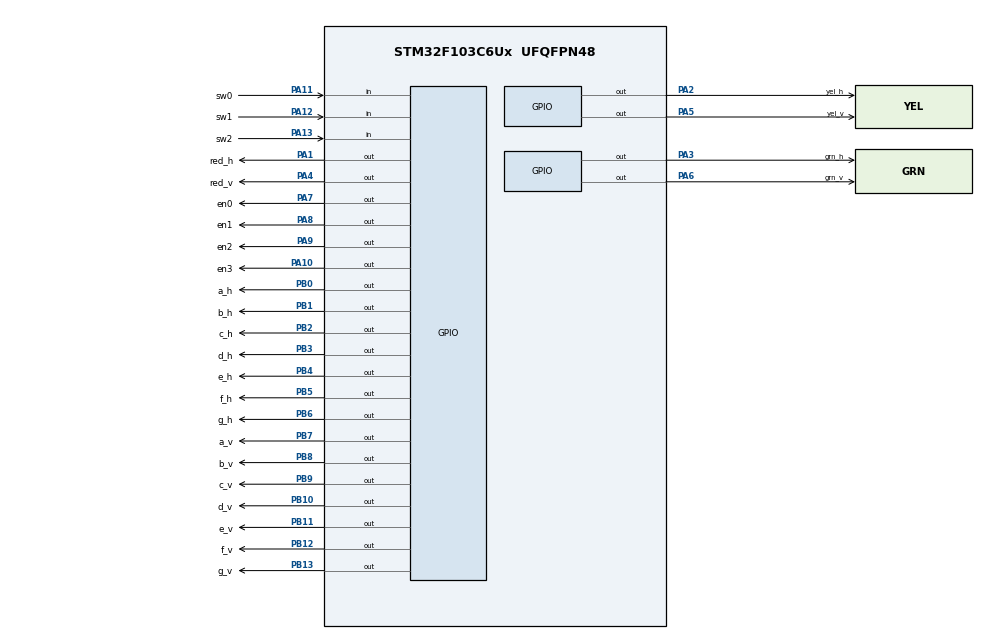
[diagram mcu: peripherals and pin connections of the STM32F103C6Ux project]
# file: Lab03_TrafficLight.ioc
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Mcu.Family=STM32F1
Mcu.Name=STM32F103C6Ux
Mcu.Package=UFQFPN48
NVIC.PriorityGroup=NVIC_PRIORITYGROUP_4
NVIC.TIM2_IRQn=true\:0\:0\:false\:false\:true\:true\:true\:true
PA1.GPIO_Label=red_h
PA1.PinState=GPIO_PIN_SET
PA1.Signal=GPIO_Output
PA10.GPIO_Label=en3
PA10.PinState=GPIO_PIN_SET
PA10.Signal=GPIO_Output
PA11.GPIO_Label=sw0
PA11.GPIO_PuPd=GPIO_PULLUP
PA11.Signal=GPIO_Input
PA12.GPIO_Label=sw1
PA12.GPIO_PuPd=GPIO_PULLUP
PA12.Signal=GPIO_Input
PA13.GPIO_Label=sw2
PA13.GPIO_PuPd=GPIO_PULLUP
PA13.Signal=GPIO_Input
PA2.GPIO_Label=yel_h
PA2.PinState=GPIO_PIN_SET
PA2.Signal=GPIO_Output
PA3.GPIO_Label=grn_h
PA3.PinState=GPIO_PIN_SET
PA3.Signal=GPIO_Output
PA4.GPIO_Label=red_v
PA4.PinState=GPIO_PIN_SET
PA4.Signal=GPIO_Output
PA5.GPIO_Label=yel_v
PA5.PinState=GPIO_PIN_SET
PA5.Signal=GPIO_Output
PA6.GPIO_Label=grn_v
PA6.PinState=GPIO_PIN_SET
PA6.Signal=GPIO_Output
PA7.GPIO_Label=en0
PA7.PinState=GPIO_PIN_SET
PA7.Signal=GPIO_Output
PA8.GPIO_Label=en1
PA8.PinState=GPIO_PIN_SET
PA8.Signal=GPIO_Output
PA9.GPIO_Label=en2
PA9.PinState=GPIO_PIN_SET
PA9.Signal=GPIO_Output
PB0.GPIO_Label=a_h
PB0.PinState=GPIO_PIN_SET
PB0.Signal=GPIO_Output
PB1.GPIO_Label=b_h
PB1.PinState=GPIO_PIN_SET
PB1.Signal=GPIO_Output
PB10.GPIO_Label=d_v
PB10.PinState=GPIO_PIN_SET
PB10.Signal=GPIO_Output
PB11.GPIO_Label=e_v
PB11.PinState=GPIO_PIN_SET
PB11.Signal=GPIO_Output
PB12.GPIO_Label=f_v
PB12.PinState=GPIO_PIN_SET
PB12.Signal=GPIO_Output
PB13.GPIO_Label=g_v
PB13.PinState=GPIO_PIN_SET
PB13.Signal=GPIO_Output
PB2.GPIO_Label=c_h
PB2.PinState=GPIO_PIN_SET
PB2.Signal=GPIO_Output
PB3.GPIO_Label=d_h
PB3.PinState=GPIO_PIN_SET
PB3.Signal=GPIO_Output
PB4.GPIO_Label=e_h
PB4.PinState=GPIO_PIN_SET
PB4.Signal=GPIO_Output
PB5.GPIO_Label=f_h
PB5.PinState=GPIO_PIN_SET
PB5.Signal=GPIO_Output
PB6.GPIO_Label=g_h
PB6.PinState=GPIO_PIN_SET
PB6.Signal=GPIO_Output
PB7.GPIO_Label=a_v
PB7.PinState=GPIO_PIN_SET
PB7.Signal=GPIO_Output
PB8.GPIO_Label=b_v
PB8.PinState=GPIO_PIN_SET
PB8.Signal=GPIO_Output
PB9.GPIO_Label=c_v
PB9.PinState=GPIO_PIN_SET
PB9.Signal=GPIO_Output
ProjectManager.HeapSize=0x200
ProjectManager.StackSize=0x400
ProjectManager.TargetToolchain=CMake
RCC.APB1Freq_Value=8000000
RCC.APB2Freq_Value=8000000
TIM2.Period=9
TIM2.Prescaler=7999
VP_SYS_VS_ND.Mode=No_Debug
VP_TIM2_VS_ClockSourceINT.Mode=Internal
board=custom

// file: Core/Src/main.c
/* USER CODE BEGIN Header */
/**
  ******************************************************************************
  * @file           : main.c
  * @brief          : Main program body
  ******************************************************************************
  * @attention
  *
  * Copyright (c) 2026 STMicroelectronics.
  * All rights reserved.
  *
  * This software is licensed under terms that can be found in the LICENSE file
  * in the root directory of this software component.
  * If no LICENSE file comes with this software, it is provided AS-IS.
  *
  ******************************************************************************
  */
/* USER CODE END Header */
#include "main.h"

/* USER CODE BEGIN Includes */
#include "software_timer.h"
#include "input_reading.h"
#include "input_processing.h"
#include "led_display.h"
/* USER CODE END Includes */

TIM_HandleTypeDef htim2;

void SystemClock_Config(void);
static void MX_GPIO_Init(void);
static void MX_TIM2_Init(void);

int main(void)
{

  /* MCU Configuration--------------------------------------------------------*/

  /* Reset of all peripherals, Initializes the Flash interface and the Systick. */
  HAL_Init();

  /* Configure the system clock */
  SystemClock_Config();

  /* Initialize all configured peripherals */
  MX_GPIO_Init();
  MX_TIM2_Init();
  /* USER CODE BEGIN 2 */
  HAL_TIM_Base_Start_IT(&htim2);
  uint8_t last_mode = 0;          /* 0 = force the first LED update */
  /* USER CODE END 2 */

  /* Infinite loop */
  /* USER CODE BEGIN WHILE */
  while (1)
  {
    fsm_for_input_processing();

    /* Exercise 5 test: show the current mode on the traffic LEDs
       (Mode 1 = off, 2 = red, 3 = amber, 4 = green) */
    uint8_t mode = get_mode();
    if (mode != last_mode) {
      last_mode = mode;
      uint8_t light = LIGHT_OFF;
      if (mode == MODE_RED)   light = LIGHT_RED;
      if (mode == MODE_AMBER) light = LIGHT_AMBER;
      if (mode == MODE_GREEN) light = LIGHT_GREEN;
      setLightH(light);
      setLightV(light);
    }
    /* USER CODE END WHILE */

  }
}

void SystemClock_Config(void)
{
  RCC_OscInitTypeDef RCC_OscInitStruct = {0};
  RCC_ClkInitTypeDef RCC_ClkInitStruct = {0};

  /** Initializes the RCC Oscillators according to the specified parameters
  * in the RCC_OscInitTypeDef structure.
  */
  RCC_OscInitStruct.OscillatorType = RCC_OSCILLATORTYPE_HSI;
  RCC_OscInitStruct.HSIState = RCC_HSI_ON;
  RCC_OscInitStruct.HSICalibrationValue = RCC_HSICALIBRATION_DEFAULT;
  RCC_OscInitStruct.PLL.PLLState = RCC_PLL_NONE;
  if (HAL_RCC_OscConfig(&RCC_OscInitStruct) != HAL_OK)
  {
    Error_Handler();
  }

  /** Initializes the CPU, AHB and APB buses clocks
  */
  RCC_ClkInitStruct.ClockType = RCC_CLOCKTYPE_HCLK|RCC_CLOCKTYPE_SYSCLK
                              |RCC_CLOCKTYPE_PCLK1|RCC_CLOCKTYPE_PCLK2;
  RCC_ClkInitStruct.SYSCLKSource = RCC_SYSCLKSOURCE_HSI;
  RCC_ClkInitStruct.AHBCLKDivider = RCC_SYSCLK_DIV1;
  RCC_ClkInitStruct.APB1CLKDivider = RCC_HCLK_DIV1;
  RCC_ClkInitStruct.APB2CLKDivider = RCC_HCLK_DIV1;

  if (HAL_RCC_ClockConfig(&RCC_ClkInitStruct, FLASH_LATENCY_0) != HAL_OK)
  {
    Error_Handler();
  }
}

static void MX_TIM2_Init(void)
{

  TIM_ClockConfigTypeDef sClockSourceConfig = {0};
  TIM_MasterConfigTypeDef sMasterConfig = {0};

  htim2.Instance = TIM2;
  htim2.Init.Prescaler = 7999;
  htim2.Init.CounterMode = TIM_COUNTERMODE_UP;
  htim2.Init.Period = 9;
  htim2.Init.ClockDivision = TIM_CLOCKDIVISION_DIV1;
  htim2.Init.AutoReloadPreload = TIM_AUTORELOAD_PRELOAD_DISABLE;
  if (HAL_TIM_Base_Init(&htim2) != HAL_OK)
  {
    Error_Handler();
  }
  sClockSourceConfig.ClockSource = TIM_CLOCKSOURCE_INTERNAL;
  if (HAL_TIM_ConfigClockSource(&htim2, &sClockSourceConfig) != HAL_OK)
  {
    Error_Handler();
  }
  sMasterConfig.MasterOutputTrigger = TIM_TRGO_RESET;
  sMasterConfig.MasterSlaveMode = TIM_MASTERSLAVEMODE_DISABLE;
  if (HAL_TIMEx_MasterConfigSynchronization(&htim2, &sMasterConfig) != HAL_OK)
  {
    Error_Handler();
  }

}

static void MX_GPIO_Init(void)
{
  GPIO_InitTypeDef GPIO_InitStruct = {0};

  /* GPIO Ports Clock Enable */
  __HAL_RCC_GPIOA_CLK_ENABLE();
  __HAL_RCC_GPIOB_CLK_ENABLE();

  /*Configure GPIO pin Output Level */
  HAL_GPIO_WritePin(GPIOA, red_h_Pin|yel_h_Pin|grn_h_Pin|red_v_Pin
                          |yel_v_Pin|grn_v_Pin|en0_Pin|en1_Pin
                          |en2_Pin|en3_Pin, GPIO_PIN_SET);

  /*Configure GPIO pin Output Level */
  HAL_GPIO_WritePin(GPIOB, a_h_Pin|b_h_Pin|c_h_Pin|d_v_Pin
                          |e_v_Pin|f_v_Pin|g_v_Pin|d_h_Pin
                          |e_h_Pin|f_h_Pin|g_h_Pin|a_v_Pin
                          |b_v_Pin|c_v_Pin, GPIO_PIN_SET);

  /*Configure GPIO pins : red_h_Pin yel_h_Pin grn_h_Pin red_v_Pin
                           yel_v_Pin grn_v_Pin en0_Pin en1_Pin
                           en2_Pin en3_Pin */
  GPIO_InitStruct.Pin = red_h_Pin|yel_h_Pin|grn_h_Pin|red_v_Pin
                          |yel_v_Pin|grn_v_Pin|en0_Pin|en1_Pin
                          |en2_Pin|en3_Pin;
  GPIO_InitStruct.Mode = GPIO_MODE_OUTPUT_PP;
  GPIO_InitStruct.Pull = GPIO_NOPULL;
  GPIO_InitStruct.Speed = GPIO_SPEED_FREQ_LOW;
  HAL_GPIO_Init(GPIOA, &GPIO_InitStruct);

  /*Configure GPIO pins : a_h_Pin b_h_Pin c_h_Pin d_v_Pin
                           e_v_Pin f_v_Pin g_v_Pin d_h_Pin
                           e_h_Pin f_h_Pin g_h_Pin a_v_Pin
                           b_v_Pin c_v_Pin */
  GPIO_InitStruct.Pin = a_h_Pin|b_h_Pin|c_h_Pin|d_v_Pin
                          |e_v_Pin|f_v_Pin|g_v_Pin|d_h_Pin
                          |e_h_Pin|f_h_Pin|g_h_Pin|a_v_Pin
                          |b_v_Pin|c_v_Pin;
  GPIO_InitStruct.Mode = GPIO_MODE_OUTPUT_PP;
  GPIO_InitStruct.Pull = GPIO_NOPULL;
  GPIO_InitStruct.Speed = GPIO_SPEED_FREQ_LOW;
  HAL_GPIO_Init(GPIOB, &GPIO_InitStruct);

  /*Configure GPIO pins : sw0_Pin sw1_Pin sw2_Pin */
  GPIO_InitStruct.Pin = sw0_Pin|sw1_Pin|sw2_Pin;
  GPIO_InitStruct.Mode = GPIO_MODE_INPUT;
  GPIO_InitStruct.Pull = GPIO_PULLUP;
  HAL_GPIO_Init(GPIOA, &GPIO_InitStruct);

}

/* USER CODE BEGIN 4 */
void HAL_TIM_PeriodElapsedCallback(TIM_HandleTypeDef *htim)
{
  if (htim->Instance == TIM2) {
    timerRun();
    button_reading();
  }
}
/* USER CODE END 4 */

void Error_Handler(void)
{
  __disable_irq();
  while (1)
  {
  }
}
